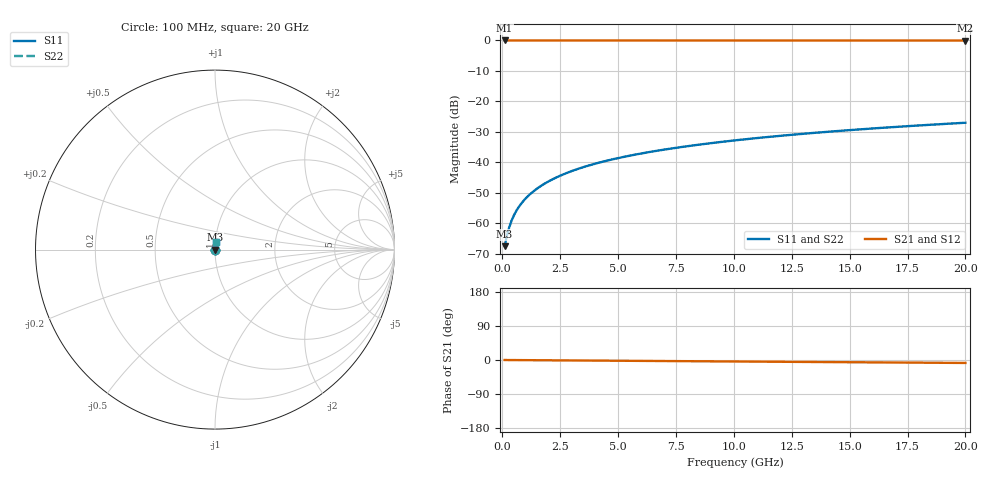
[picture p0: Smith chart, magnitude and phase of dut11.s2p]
! Touchstone file exported from HFSS 2026.1.0
!  File:  C:/ffzhzh/LocalFiles/Ansys_Project_Files/temp_val_TSV_11_1782974936_45308.aedt
!  Generated:  02:50:23 PM Jul  2, 2026
!  Design:  TSV
!  Project:  temp_val_TSV_11_1782974936_45308
! Variables:
!  h_bsmrdl = 2um
!  h_ox = 20um
!  h_rdl = 5um
!  h_sub = 73.71um
!  h_tmrdl = 5um
!  h_tsv = 73.71um
!  h_via = 3um
!  l_bsmrdl = 300um
!  l_sub = 410.7um
!  l_tmrdl = 200um
!  m_sub = 200um
!  pitch = 34.65um
!  r_tsv = 5.35um
!  s_tmrdl = 10um
!  w_bsmrdl = 18um
!  w_sub = 500um
!  w_tmrdl = 12um
!  x_tsv_center1 = 206um
!  x_tsv_center2 = 524um
!  x_tsv_center3 = 736um
!  x_tsv_center4 = 1054um
!  x_tsv_center5 = 1266um
!  x_tsv_center6 = 1584um
# GHz S MA R 50.000000
! Terminal data exported
! Port[1] = TSV1_1_T1
! Port[2] = TSV1_1_T2
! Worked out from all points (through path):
!   200 points, 100 MHz to 20 GHz, reference 50 ohm
!   highest |S21| = 0.00 dB at 100 MHz (marker M1); lowest = 0.0 dB at 20 GHz (marker M2)
!   group delay of S21, straight-line fit = 1.08 ps
!   lowest |S11| = -67.5 dB at 100 MHz (marker M3), VSWR 1.00, Z = 50 + j0.0267 ohm
!   |S11| at or under -10 dB: start of sweep to end of sweep
!   |S22| runs from -67.5 to -27.0 dB; largest |S21 - S12| = 5e-15
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0.1  0.0004236 39.0  0.9997 -0.0  0.9997 -0.0  0.0004236 39.0
! Gamma 0 0 0 0
! Port Impedance 50 0 50 0
0.2  0.0006303 57.3  0.9997 -0.1  0.9997 -0.1  0.0006303 57.3
0.3  0.0008666 65.7  0.9996 -0.1  0.9996 -0.1  0.0008666 65.7
0.4  0.001109 70.2  0.9996 -0.2  0.9996 -0.2  0.001109 70.2
0.5  0.001352 72.9  0.9996 -0.2  0.9996 -0.2  0.001352 72.9
0.6  0.001594 74.8  0.9996 -0.2  0.9996 -0.2  0.001594 74.8
0.8  0.002071 77.3  0.9996 -0.3  0.9996 -0.3  0.002072 77.3
1.1  0.002781 79.4  0.9995 -0.4  0.9995 -0.4  0.002781 79.4
1.5  0.003722 81.1  0.9994 -0.6  0.9994 -0.6  0.003722 81.1
1.8  0.004426 81.8  0.9994 -0.7  0.9994 -0.7  0.004426 81.8
2.1  0.005128 82.3  0.9994 -0.8  0.9994 -0.8  0.005128 82.3
2.7  0.006526 82.9  0.9993 -1.1  0.9993 -1.1  0.006526 82.9
3.5  0.008372 83.3  0.9992 -1.4  0.9992 -1.4  0.008372 83.3
4.2  0.00997 83.4  0.9991 -1.7  0.9991 -1.7  0.00997 83.4
5  0.01178 83.4  0.999 -2.0  0.999 -2.0  0.01178 83.4
5.9  0.0138 83.3  0.9989 -2.3  0.9989 -2.3  0.0138 83.3
6.8  0.01581 83.2  0.9987 -2.7  0.9987 -2.7  0.01581 83.2
8.3  0.01914 83.0  0.9986 -3.3  0.9986 -3.3  0.01914 83.0
10.1  0.02311 82.6  0.9984 -4.0  0.9984 -4.0  0.02311 82.6
13.4  0.03038 81.8  0.998 -5.2  0.998 -5.2  0.03038 81.8
16.7  0.03759 80.8  0.9976 -6.5  0.9976 -6.5  0.03759 80.8
20  0.04475 79.7  0.9971 -7.8  0.9971 -7.8  0.04475 79.7
